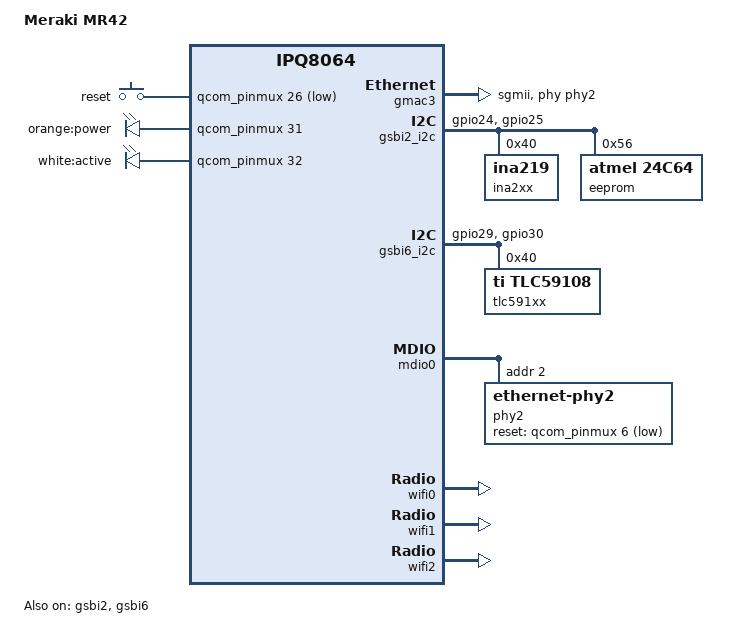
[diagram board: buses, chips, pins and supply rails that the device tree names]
// SPDX-License-Identifier: GPL-2.0 OR MIT

#include "qcom-ipq8068-cryptid-common.dtsi"

#include <dt-bindings/input/input.h>

/ {
	model = "Meraki MR42";
	compatible = "meraki,mr42", "qcom,ipq8064";

	aliases {
		serial1 = &gsbi1_serial;
		ethernet0 = &gmac3;

		led-boot = &led_active;
		led-failsafe = &led_power;
		led-running = &led_active;
		led-upgrade = &led_active;
	};

	keys {
		compatible = "gpio-keys";
		pinctrl-0 = <&button_pins>;
		pinctrl-names = "default";

		reset {
			label = "reset";
			gpios = <&qcom_pinmux 26 GPIO_ACTIVE_LOW>;
			linux,code = <KEY_RESTART>;
			debounce-interval = <60>;
			wakeup-source;
		};
	};

	leds {
		compatible = "gpio-leds";
		pinctrl-0 = <&led_pins>;
		pinctrl-names = "default";

		led_power: power {
			label = "orange:power";
			gpios = <&qcom_pinmux 31 GPIO_ACTIVE_HIGH>;
		};

		led_active: active {
			label = "white:active";
			gpios = <&qcom_pinmux 32 GPIO_ACTIVE_HIGH>;
		};
	};
};

&gmac3 {
	status = "okay";

	qcom,id = <3>;
	mdiobus = <&mdio0>;

	phy-mode = "sgmii";
	phy-handle = <&phy2>;

	nvmem-cells = <&mac_address>;
	nvmem-cell-names = "mac-address";
};

&gsbi2 {
	status = "okay";
	qcom,mode = <GSBI_PROT_I2C>;
};

&gsbi2_i2c {
	status = "okay";

	pinctrl-0 = <&i2c0_pins>;
	pinctrl-names = "default";

	ina2xx@40 {
		compatible = "ina219";
		shunt-resistor = <40000>;
		reg = <0x40>;
	};

	eeprom@56 {
		compatible = "atmel,24c64";
		pagesize = <32>;
		reg = <0x56>;
		read-only;
		#address-cells = <1>;
		#size-cells = <1>;

		mac_address: mac-address@66 {
			reg = <0x66 0x6>;
		};
	};
};

&gsbi6 {
	qcom,mode = <GSBI_PROT_I2C>;
	status = "okay";
};

&gsbi6_i2c {
	status = "okay";

	pinctrl-0 = <&i2c1_pins>;
	pinctrl-names = "default";

	tlc591xx@40 {
		#address-cells = <1>;
		#size-cells = <0>;
		compatible = "ti,tlc59108";
		reg = <0x40>;

		red@0 {
			label = "red:user";
			reg = <0x0>;
		};

		green@1 {
			label = "green:user";
			reg = <0x1>;
		};

		blue@2 {
			label = "blue:user";
			reg = <0x2>;
		};
	};
};

&mdio0 {
	status = "okay";

	pinctrl-0 = <&mdio0_pins_active>, <&phy_active>;
	pinctrl-names = "default";

	phy2: ethernet-phy2 {
		reg = <2>;

		reset-gpios = <&qcom_pinmux 6 GPIO_ACTIVE_LOW>;
		reset-assert-us = <24000>;

		eee-broken-100tx;
		eee-broken-1000t;
	};
};

&qcom_pinmux {
	i2c0_pins: i2c0_pins {
		mux {
			pins = "gpio24", "gpio25";
			function = "gsbi2";
			drive-strength = <2>;
			bias-pull-up;
			input;
		};
	};

	button_pins: button_pins {
		mux {
			pins = "gpio26";
			function = "gpio";
			drive-strength = <2>;
			bias-pull-up;
		};
	};

	i2c1_pins: i2c1_pins {
		mux {
			pins = "gpio29", "gpio30";
			function = "gsbi6";
			drive-strength = <2>;
			bias-pull-up;
			input;
		};
	};

	led_pins: led_pins {
		mux {
			pins = "gpio31", "gpio32";
			function = "gpio";
			drive-strength = <12>;
			bias-pull-down;
			output-low;
		};
	};
};

&wifi0 {
	nvmem-cells = <&mac_address>;
	nvmem-cell-names = "mac-address";
	mac-address-increment = <1>;
};

&wifi1 {
	nvmem-cells = <&mac_address>;
	nvmem-cell-names = "mac-address";
	mac-address-increment = <2>;
};

&wifi2 {
	nvmem-cells = <&mac_address>;
	nvmem-cell-names = "mac-address";
	mac-address-increment = <3>;
};
